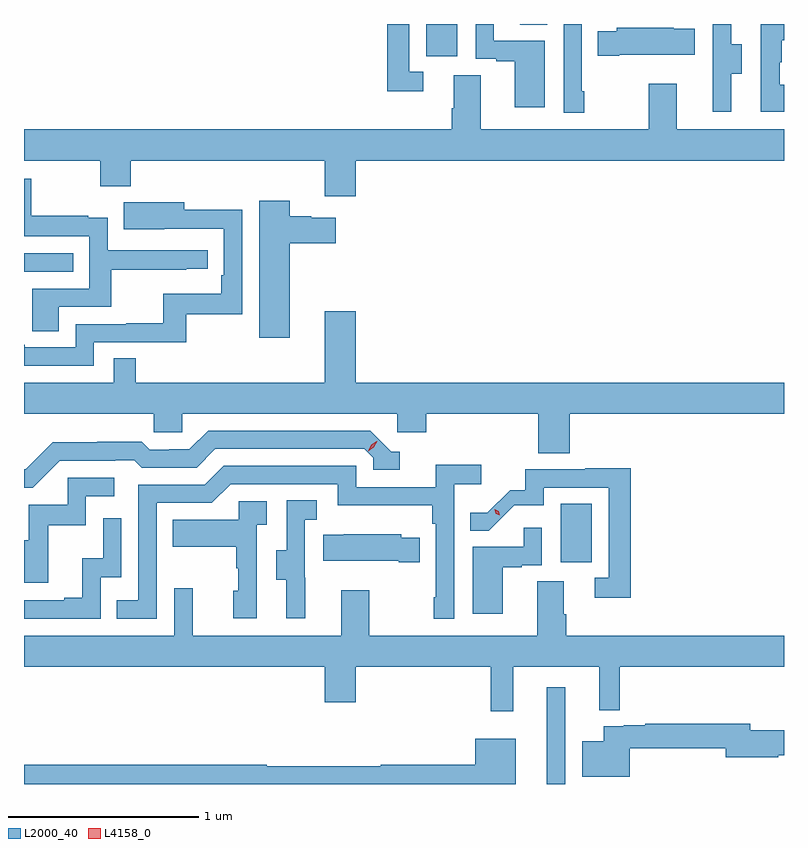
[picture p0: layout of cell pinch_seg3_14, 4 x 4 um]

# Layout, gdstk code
import gdstk
lib = gdstk.Library(unit=1e-6, precision=1e-09)
def R(c, l, rs):  # rectangles x0, y0, x1, y1
    for r in rs: c.add(gdstk.rectangle(r[:2], r[2:], *l))
def P(c, l, *ps):  # polygons
    for p in ps: c.add(gdstk.Polygon(p, *l))
L2000_40 = (2000, 40)
L4158_0 = (4158, 0)

pinch_seg3_14 = lib.new_cell('pinch_seg3_14')
R(pinch_seg3_14, L2000_40, [(1125.218,730.935,1125.315,731.443), (1125.29,732.102,1125.454,732.409), (1122.466,733.632,1122.725,733.728), (1124.582,734.766,1124.746,734.935)])
P(pinch_seg3_14, L2000_40, [(1125.415,734.581),(1125.402,734.581),(1125.402,734.935),(1125.306,734.935),(1125.306,734.469),(1125.415,734.469)],
  [(1126.466,734.616),(1126.443,734.616),(1126.443,734.735),(1126.453,734.735),(1126.453,734.849),(1126.466,734.849),(1126.466,734.935),(1126.344,734.935),(1126.344,734.472),(1126.466,734.472)],
  [(1125.208,734.847),(1124.939,734.847),(1124.939,734.935),(1124.844,734.935),(1124.844,734.751),(1124.951,734.751),(1124.951,734.739),(1125.05,734.739),(1125.05,734.496),(1125.208,734.496)],
  [(1125.221,734.935),(1125.074,734.935),(1125.077,734.932),(1125.221,734.932)],
  [(1124.566,734.685),(1124.493,734.685),(1124.493,734.935),(1124.377,734.935),(1124.377,734.58),(1124.566,734.58)],
  [(1126.189,734.674),(1126.243,734.674),(1126.243,734.829),(1126.188,734.829),(1126.188,734.935),(1126.092,734.935),(1126.092,734.685),(1126.091,734.685),(1126.091,734.472),(1126.189,734.472)],
  [(1125.598,734.774),(1125.995,734.774),(1125.995,734.911),(1125.887,734.911),(1125.887,734.914),(1125.585,734.914),(1125.585,734.896),(1125.487,734.896),(1125.487,734.767),(1125.598,734.767)],
  [(1124.212,734.216),(1126.466,734.216),(1126.466,734.38),(1125.901,734.38),(1125.901,734.62),(1125.754,734.62),(1125.754,734.38),(1124.869,734.38),(1124.869,734.666),(1124.729,734.666),(1124.729,734.492),(1124.717,734.492),(1124.717,734.38),(1122.466,734.38),(1122.466,734.216),(1122.868,734.216),(1122.868,734.081),(1123.028,734.081),(1123.028,734.216),(1124.048,734.216),(1124.048,734.028),(1124.212,734.028)],
  [(1122.649,733.446),(1122.926,733.446),(1122.926,733.642),(1123.319,733.642),(1123.319,733.647),(1123.432,733.647),(1123.432,733.743),(1122.906,733.743),(1122.906,733.915),(1122.803,733.915),(1122.803,733.927),(1122.505,733.927),(1122.505,734.121),(1122.466,734.121),(1122.466,733.818),(1122.81,733.818),(1122.81,733.542),(1122.509,733.542),(1122.509,733.318),(1122.649,733.318)],
  [(1123.864,733.781),(1124.107,733.781),(1124.107,733.915),(1123.977,733.915),(1123.977,733.923),(1123.864,733.923),(1123.864,734.005),(1123.703,734.005),(1123.703,733.284),(1123.864,733.284)],
  [(1122.834,733.26),(1123.321,733.26),(1123.321,733.407),(1123.614,733.407),(1123.614,733.958),(1123.309,733.958),(1123.309,733.996),(1122.991,733.996),(1122.991,733.856),(1123.205,733.856),(1123.205,733.857),(1123.518,733.857),(1123.518,733.612),(1123.505,733.612),(1123.505,733.516),(1123.2,733.516),(1123.2,733.361),(1123.003,733.361),(1123.003,733.356),(1122.738,733.356),(1122.738,733.233),(1122.469,733.233),(1122.469,733.246),(1122.466,733.246),(1122.466,733.137),(1122.834,733.137)],
  [(1125.338,732.884),(1126.466,732.884),(1126.466,733.048),(1124.212,733.048),(1124.212,733.423),(1124.048,733.423),(1124.048,733.048),(1123.055,733.048),(1123.055,733.175),(1122.939,733.175),(1122.939,733.048),(1122.466,733.048),(1122.466,732.884),(1123.149,732.884),(1123.149,732.786),(1123.299,732.786),(1123.299,732.884),(1124.43,732.884),(1124.43,732.786),(1124.582,732.786),(1124.582,732.884),(1125.173,732.884),(1125.173,732.676),(1125.338,732.676)],
  [(1122.654,732.636),(1122.947,732.636),(1122.947,732.639),(1123.046,732.639),(1123.085,732.6),(1123.374,732.6),(1123.473,732.699),(1124.256,732.699),(1124.304,732.651),(1124.304,732.588),(1124.443,732.588),(1124.443,732.684),(1124.4,732.684),(1124.289,732.795),(1123.436,732.795),(1123.337,732.696),(1123.23,732.696),(1123.23,732.693),(1123.127,732.693),(1123.085,732.736),(1122.852,732.736),(1122.852,732.733),(1122.616,732.733),(1122.474,732.591),(1122.466,732.591),(1122.466,732.495),(1122.513,732.495)],
  [(1123.164,732.414),(1123.455,732.414),(1123.554,732.513),(1124.118,732.513),(1124.118,732.401),(1124.614,732.401),(1124.614,732.305),(1124.634,732.305),(1124.634,731.917),(1124.622,731.917),(1124.622,731.805),(1124.73,731.805),(1124.73,732.512),(1124.872,732.512),(1124.872,732.614),(1124.633,732.614),(1124.633,732.498),(1124.214,732.498),(1124.214,732.609),(1123.517,732.609),(1123.418,732.51),(1123.068,732.51),(1123.068,731.901),(1122.955,731.901),(1122.955,731.805),(1123.164,731.805)],
  [(1125.659,732.596),(1125.421,732.596),(1125.421,732.591),(1125.103,732.591),(1125.103,732.482),(1125.024,732.482),(1124.905,732.363),(1124.815,732.363),(1124.815,732.268),(1124.911,732.268),(1125.045,732.402),(1125.201,732.402),(1125.201,732.495),(1125.543,732.495),(1125.543,732.021),(1125.471,732.021),(1125.471,731.916),(1125.659,731.916)],
  [(1122.593,732.297),(1122.792,732.297),(1122.792,732.45),(1122.94,732.45),(1122.94,732.546),(1122.696,732.546),(1122.696,732.405),(1122.491,732.405),(1122.491,732.219),(1122.466,732.219),(1122.466,731.994),(1122.593,731.994)],
  [(1123.946,732.021),(1123.944,732.021),(1123.944,732.325),(1124.008,732.325),(1124.008,732.428),(1123.848,732.428),(1123.848,732.165),(1123.793,732.165),(1123.793,732.01),(1123.847,732.01),(1123.847,731.808),(1123.946,731.808)],
  [(1123.692,732.299),(1123.744,732.299),(1123.744,732.423),(1123.596,732.423),(1123.596,732.325),(1123.249,732.325),(1123.249,732.185),(1123.584,732.185),(1123.584,732.071),(1123.594,732.071),(1123.594,731.952),(1123.568,731.952),(1123.568,731.808),(1123.692,731.808)],
  [(1122.87,732.024),(1122.978,732.024),(1122.978,732.334),(1122.882,732.334),(1122.882,732.122),(1122.773,732.122),(1122.773,731.914),(1122.677,731.914),(1122.677,731.901),(1122.466,731.901),(1122.466,731.805),(1122.87,731.805)],
  [(1124.986,732.075),(1125.086,732.075),(1125.086,732.087),(1125.192,732.087),(1125.192,732.283),(1125.096,732.283),(1125.096,732.183),(1124.828,732.183),(1124.828,731.832),(1124.986,731.832)],
  [(1124.549,732.232),(1124.451,732.232),(1124.451,732.25),(1124.149,732.25),(1124.149,732.247),(1124.041,732.247),(1124.041,732.11),(1124.438,732.11),(1124.438,732.103),(1124.549,732.103)],
  [(1125.041,731.552),(1125.494,731.552),(1125.494,731.323),(1125.602,731.323),(1125.602,731.552),(1126.466,731.552),(1126.466,731.716),(1125.32,731.716),(1125.32,731.828),(1125.307,731.828),(1125.307,732.002),(1125.167,732.002),(1125.167,731.716),(1124.283,731.716),(1124.283,731.956),(1124.135,731.956),(1124.135,731.716),(1123.355,731.716),(1123.355,731.965),(1123.257,731.965),(1123.257,731.716),(1122.466,731.716),(1122.466,731.552),(1124.048,731.552),(1124.048,731.364),(1124.212,731.364),(1124.212,731.552),(1124.923,731.552),(1124.923,731.319),(1125.041,731.319)],
  [(1125.653,731.122),(1126.16,731.122),(1126.16,731.075),(1126.436,731.075),(1126.436,731.087),(1126.466,731.087),(1126.466,731.217),(1126.288,731.217),(1126.288,731.251),(1125.736,731.251),(1125.736,731.244),(1125.622,731.244),(1125.622,731.238),(1125.518,731.238),(1125.518,731.161),(1125.404,731.161),(1125.404,730.973),(1125.653,730.973)],
  [(1125.055,731.173),(1124.84,731.173),(1124.84,731.036),(1124.344,731.036),(1124.344,731.029),(1123.744,731.029),(1123.744,731.036),(1122.466,731.036),(1122.466,730.935),(1125.055,730.935)])
P(pinch_seg3_14, L4158_0, [(1124.971,732.349),(1124.95,732.358),(1124.944,732.38),(1124.944,732.38),(1124.944,732.38),(1124.965,732.371),(1124.971,732.35),(1124.971,732.349)],
  [(1124.278,732.687),(1124.278,732.687),(1124.293,732.72),(1124.323,732.74),(1124.324,732.74),(1124.324,732.74),(1124.308,732.707),(1124.278,732.687)])

lib.write_gds('pinch_seg3_14.gds')
